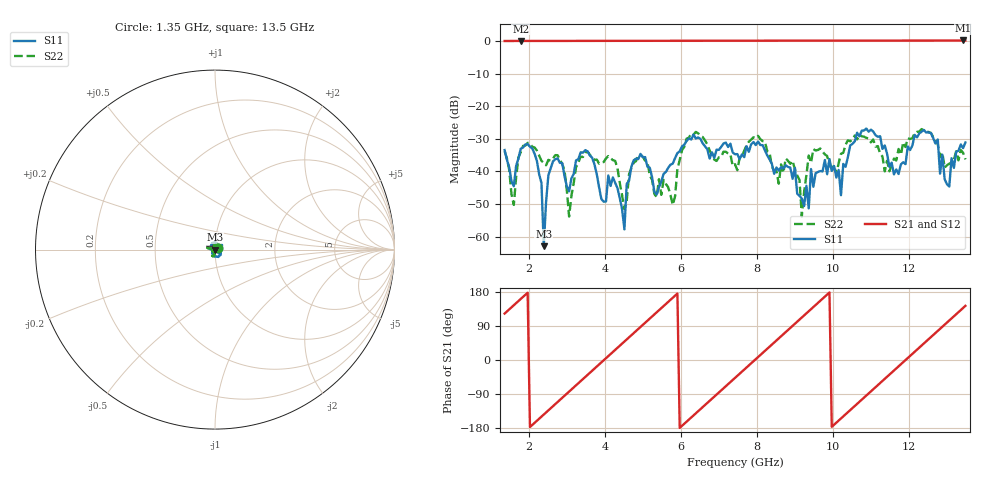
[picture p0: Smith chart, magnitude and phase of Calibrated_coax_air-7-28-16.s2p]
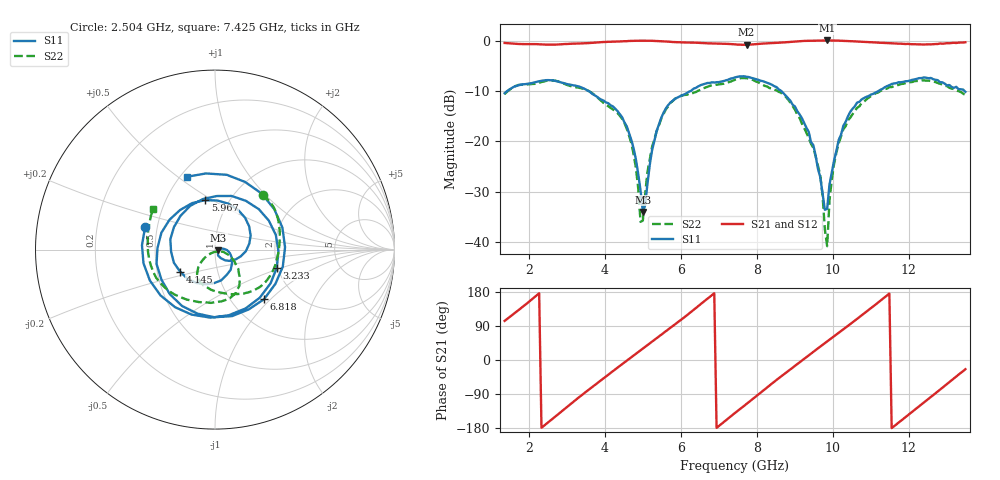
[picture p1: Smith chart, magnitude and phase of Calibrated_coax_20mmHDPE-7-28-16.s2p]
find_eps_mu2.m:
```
% process_stripline
eps0=8.85418782e-12;
mu0=1.2566370614e-6;
c0=1/sqrt(eps0*mu0);
eta0=sqrt(mu0/eps0); % free space
c=1/sqrt(eps0*mu0);
material_width = 20e-3;
d = material_width;
%%
air_file = 'Calibrated_coax_air-7-28-16.s2p';
frequency = dlmread(air_file,' ',9,0,[9 0 209 0])/1e9;
air_mag11 = dlmread(air_file,' ',9,1,[9 1 209 1]);
air_phase11 = dlmread(air_file,' ',9,2,[9 2 209 2]);
air_mag21 = dlmread(air_file,' ',9,3,[9 3 209 3]);
air_phase21 = dlmread(air_file,' ',9,4,[9 4 209 4]);
air_mag12 = dlmread(air_file,' ',9,5,[9 5 209 5]);
air_phase12 = dlmread(air_file,' ',9,6,[9 6 209 6]);
air_mag22 = dlmread(air_file,' ',9,7,[9 7 209 7]);
air_phase22 = dlmread(air_file,' ',9,8,[9 8 209 8]);
air11=complex((10.^(air_mag11/20)).*exp(1i*air_phase11/180*pi));
air21=complex((10.^(air_mag21/20)).*exp(1i*air_phase21/180*pi));
air12=complex((10.^(air_mag12/20)).*exp(1i*air_phase12/180*pi));

medium_file = 'Calibrated_coax_20mmHDPE-7-28-16.s2p';
%medium_file = 'Calibrated_coax_5mmCoZn-7-28-16.s2p';
med_mag11 = dlmread(medium_file,' ',9,1,[9 1 209 1]);
med_phase11 = dlmread(medium_file,' ',9,2,[9 2 209 2]);
med_mag21 = dlmread(medium_file,' ',9,3,[9 3 209 3]);
med_phase21 = dlmread(medium_file,' ',9,4,[9 4 209 4]);
med_mag12 = dlmread(medium_file,' ',9,5,[9 5 209 5]);
med_phase12 = dlmread(medium_file,' ',9,6,[9 6 209 6]);
med_mag22 = dlmread(medium_file,' ',9,7,[9 7 209 7]);
med_phase22 = dlmread(medium_file,' ',9,8,[9 8 209 8]);
med11=complex((10.^(med_mag11/20)).*exp(1i*med_phase11/180*pi));
med21=complex((10.^(med_mag21/20)).*exp(1i*med_phase21/180*pi));
med12=complex((10.^(med_mag12/20)).*exp(1i*med_phase12/180*pi));

time_air11=ifft(air11,8000);
time_air21=ifft(air21,8000);
time_air12=ifft(air12,8000);
time_med11=ifft(med11,8000);
time_med21=ifft(med21,8000);
time_med12=ifft(med12,8000);
%% Time gating
[tt,c1]=max(abs(time_air21));
t=zeros(length(time_air21),1);
t(:,1)=1:1:length(t);
win_length = 25000;
t_win=exp(-(t-c1).^2/win_length);
%{
figure(2)
plot(t_win*tt,'g--','linewidth',2)
hold on
plot(t,abs(time_air21),t,abs(time_med21))
legend('air','material')
xlim([(c1 - 1000) (c1 + 1000)])
%}
time_air11_filter=t_win.*time_air11;
time_air21_filter=t_win.*time_air21;
time_air12_filter=t_win.*time_air12;
time_med11_filter=t_win.*time_med21;
time_med21_filter=t_win.*time_med21;
time_med12_filter=t_win.*time_med12;

temp_air11=fft(time_air11_filter);
temp_air21=fft(time_air21_filter);
temp_air12=fft(time_air12_filter);
temp_med11=fft(time_med11_filter);
temp_med21=fft(time_med21_filter);
temp_med12=fft(time_med12_filter);

filtered_air11=temp_air11(1:201);
filtered_air21=temp_air21(1:201);
filtered_air12=temp_air12(1:201);
filtered_med11=temp_med11(1:201);
filtered_med21=temp_med21(1:201);
filtered_med12=temp_med12(1:201);

beta=2*pi*frequency*1e9/c0;
s11=med11./air11.*exp(-1i*beta*material_width);
s21=filtered_med21./filtered_air21.*exp(-1i*beta*material_width);
s12=filtered_med12./filtered_air12.*exp(-1i*beta*material_width);
freq2 = frequency*1e9;
Nf=length(freq2);
%*****************************************
% freqyency loop begin
Fr = freq2;
Fghz = frequency;
fghz = frequency;
R = s11;
T = s21;
for it=1:Nf
%{
f=f2(it);
Fr(it)=f;
Fghz(it)=f/1e9;
fghz=f/1e9;
Z0=eta0; W=2*pi*Fr(it); beta0=W/c;
%*******************************************
% combine magnitude and phase of the S11 and S21
R(it)=Mag1(it)*exp(1i*Ph1(it)*rad);
T(it)=Mag2(it)*exp(1i*Ph2(it)*rad);
%*******************************************
% m loop begin
%}
Z0=eta0; W=2*pi*Fr(it); beta0=W/c;
Max=1; % ---------m value set up
itt=0;
for m=-Max:Max
itt=itt+1;
%***************************************************
% using formulas from Robust method
Tp=T(it);
Z21(it)=sqrt(((1+R(it))^2-Tp^2)/((1-R(it))^2-Tp^2));
Z22(it)=-sqrt(((1+R(it))^2-Tp^2)/((1-R(it))^2-Tp^2));
expinkd1(it)=Tp/(1-R(it)*(Z21(it)-1)/(Z21(it)+1));
expinkd2(it)=Tp/(1-R(it)*(Z22(it)-1)/(Z22(it)+1));
if abs(real(Z21(it)))>=0.005 && real(Z21(it))>=0
expinkd(it)=expinkd1(it);
Z2(it)=Z21(it);
end
if abs(real(Z21(it)))>=0.005 && real(Z21(it))<0
expinkd(it)=expinkd2(it);
Z2(it)=Z22(it);
end
if abs(real(Z21(it)))<0.005 && abs(expinkd1(it))<=1
expinkd(it)=expinkd1(it);
Z2(it)=Z21(it);
end
if abs(real(Z21(it)))<0.005 && abs(expinkd1(it))>1
expinkd(it)=expinkd2(it);
Z2(it)=Z22(it);
end
ni(it)=-1/(beta0*d)*1i*real(log(expinkd(it))); % imag of n
nr(it,itt)=1/(beta0*d)*(imag(log(expinkd(it)))+2*m*pi); %real of n
n2(it,itt)=nr(it,itt)+ni(it);
Er2(it,itt)=n2(it,itt)/Z2(it);
Mr2(it,itt)=n2(it,itt)*Z2(it);
end % end of m loop
end % end of frequency loop
figure(1)
subplot(121);
plot(Fghz,real(Mr2));
xlabel('Frequency in GHz')
ylabel('Re(\mu)')
subplot(122)
plot(Fghz,imag(Mr2));
xlabel('Frequency in GHz')
ylabel('Im(\mu)')
figure(2)
subplot(121);
plot(Fghz,real(Er2));
xlabel('Frequency in GHz')
ylabel('Re(\epsilon)')
subplot(122)
plot(Fghz,imag(Er2));
xlabel('Frequency in GHz')
ylabel('Im(\epsilon)');
figure(3)
subplot(121);
plot(Fghz,abs(n2));
xlabel('Frequency in GHz')
ylabel('Re(n)')
subplot(122)
plot(Fghz,angle(n2));
xlabel('Frequency in GHz')
ylabel('Im(n)')
figure(4)
subplot(121);
plot(Fghz,abs(Z2));
xlabel('Frequency in GHz')
ylabel('Re(Z)')
subplot(122)
plot(Fghz,angle(Z2));
xlabel('Frequency in GHz')
ylabel('Im(Z)');
```
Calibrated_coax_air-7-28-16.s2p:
!Agilent Technologies,N5230C,MY48100320,A.08.04.10
!Agilent N5230C: A.08.04.10
!Date: Friday, July 29, 2016 03:00:08
!Correction: S11(Full 2 Port(1,2))
!S21(Full 2 Port(1,2))
!S12(Full 2 Port(1,2))
!S22(Full 2 Port(1,2))
!S2P File: Measurements: S11, S21, S12, S22:
# Hz S  dB  R 50
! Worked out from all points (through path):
!   201 points, 1.35 GHz to 13.5 GHz, reference 50 ohm
!   highest |S21| = 0.18 dB at 13.44 GHz (marker M1); lowest = 0.0 dB at 1.776 GHz (marker M2)
!   lowest |S11| = -62.9 dB at 2.383 GHz (marker M3), VSWR 1.00, Z = 49.9 + j0.0272 ohm
!   |S11| at or under -10 dB: start of sweep to end of sweep
!   |S22| runs from -53.9 to -27.0 dB; largest |S21 - S12| = 0.0037
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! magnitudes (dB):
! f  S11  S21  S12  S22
! 1.35 GHz  -33.5  0.0  0.0  -33.8
! 1.776 GHz  -33.0  0.0  0.0  -34.1
! 2.201 GHz  -36.7  0.0  0.0  -33.6
! 2.383 GHz  -62.9  0.0  0.0  -37.4
! 2.687 GHz  -36.3  0.0  0.0  -35.0
! 4.509 GHz  -57.8  0.1  0.1  -51.6
! 4.934 GHz  -34.6  0.1  0.1  -35.1
! 7.425 GHz  -34.7  0.1  0.1  -37.8
! 9.369 GHz  -51.3  0.1  0.1  -35.1
! 13.44 GHz  -32.9  0.2  0.2  -34.3
! 13.5 GHz  -31.1  0.2  0.2  -36.3
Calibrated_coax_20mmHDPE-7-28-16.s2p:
!Agilent Technologies,N5230C,MY48100320,A.08.04.10
!Agilent N5230C: A.08.04.10
!Date: Friday, July 29, 2016 03:03:13
!Correction: S11(Full 2 Port(1,2))
!S21(Full 2 Port(1,2))
!S12(Full 2 Port(1,2))
!S22(Full 2 Port(1,2))
!S2P File: Measurements: S11, S21, S12, S22:
# Hz S  dB  R 50
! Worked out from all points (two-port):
!   201 points, 1.35 GHz to 13.5 GHz, reference 50 ohm
!   highest |S21| = 0.13 dB at 9.855 GHz (marker M1); lowest = -0.7 dB at 7.729 GHz (marker M2)
!   |S21| within 3 dB of the highest: start of sweep to end of sweep
!   lowest |S11| = -34.1 dB at 4.995 GHz (marker M3), VSWR 1.04, Z = 52 - j0.387 ohm
!   |S11| at or under -10 dB: start of sweep to 1.408 GHz; 3.574 GHz to 6.235 GHz (2.661 GHz wide, 54.3 % of centre); 8.654 GHz to 11.2 GHz (2.543 GHz wide, 25.6 % of centre)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
!   |S22| runs from -40.9 to -7.3 dB; largest |S21 - S12| = 0.0029
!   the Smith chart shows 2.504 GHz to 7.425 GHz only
!   S11 on the Smith chart (normalised r, x): 2.504 GHz: 0.43, +0.13; 3.233 GHz: 1.98, -0.46; 4.145 GHz: 0.66, -0.17; 5.967 GHz: 0.78, +0.46; 6.818 GHz: 1.40, -0.91; 7.425 GHz: 0.54, +0.54
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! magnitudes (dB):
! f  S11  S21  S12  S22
! 1.35 GHz  -10.4  -0.4  -0.4  -10.6
! 2.504 GHz  -7.8  -0.7  -0.7  -7.8
! 3.233 GHz  -8.9  -0.5  -0.5  -9.2
! 4.145 GHz  -12.8  -0.1  -0.1  -13.3
! 4.995 GHz  -34.1  0.1  0.1  -35.8
! 5.967 GHz  -11.0  -0.2  -0.2  -11.0
! 6.818 GHz  -8.2  -0.5  -0.5  -8.8
! 7.425 GHz  -7.2  -0.6  -0.6  -7.7
! 7.729 GHz  -7.1  -0.7  -0.7  -7.4
! 9.855 GHz  -33.4  0.1  0.1  -40.9
! 13.5 GHz  -10.1  -0.2  -0.2  -10.8
